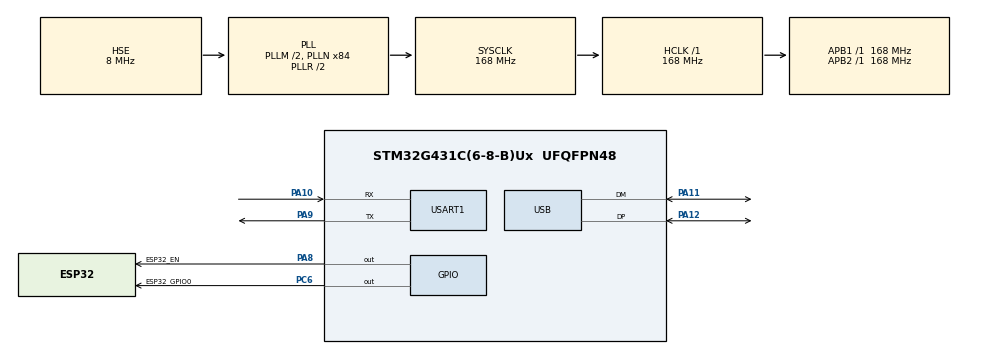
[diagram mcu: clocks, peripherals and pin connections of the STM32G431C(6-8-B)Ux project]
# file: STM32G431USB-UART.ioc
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Dma.Request0=USART1_RX
Dma.Request1=USART1_TX
Dma.USART1_RX.0.Direction=DMA_PERIPH_TO_MEMORY
Dma.USART1_RX.0.EventEnable=DISABLE
Dma.USART1_RX.0.Instance=DMA1_Channel1
Dma.USART1_RX.0.MemDataAlignment=DMA_MDATAALIGN_BYTE
Dma.USART1_RX.0.MemInc=DMA_MINC_ENABLE
Dma.USART1_RX.0.Mode=DMA_CIRCULAR
Dma.USART1_RX.0.PeriphDataAlignment=DMA_PDATAALIGN_BYTE
Dma.USART1_RX.0.PeriphInc=DMA_PINC_DISABLE
Dma.USART1_RX.0.Polarity=HAL_DMAMUX_REQ_GEN_RISING
Dma.USART1_RX.0.Priority=DMA_PRIORITY_LOW
Dma.USART1_RX.0.RequestNumber=1
Dma.USART1_RX.0.SignalID=NONE
Dma.USART1_RX.0.SyncEnable=DISABLE
Dma.USART1_RX.0.SyncPolarity=HAL_DMAMUX_SYNC_NO_EVENT
Dma.USART1_RX.0.SyncRequestNumber=1
Dma.USART1_RX.0.SyncSignalID=NONE
Dma.USART1_TX.1.Direction=DMA_MEMORY_TO_PERIPH
Dma.USART1_TX.1.EventEnable=DISABLE
Dma.USART1_TX.1.Instance=DMA1_Channel2
Dma.USART1_TX.1.MemDataAlignment=DMA_MDATAALIGN_BYTE
Dma.USART1_TX.1.MemInc=DMA_MINC_ENABLE
Dma.USART1_TX.1.Mode=DMA_NORMAL
Dma.USART1_TX.1.PeriphDataAlignment=DMA_PDATAALIGN_BYTE
Dma.USART1_TX.1.PeriphInc=DMA_PINC_DISABLE
Dma.USART1_TX.1.Polarity=HAL_DMAMUX_REQ_GEN_RISING
Dma.USART1_TX.1.Priority=DMA_PRIORITY_LOW
Dma.USART1_TX.1.RequestNumber=1
Dma.USART1_TX.1.SignalID=NONE
Dma.USART1_TX.1.SyncEnable=DISABLE
Dma.USART1_TX.1.SyncPolarity=HAL_DMAMUX_SYNC_NO_EVENT
Dma.USART1_TX.1.SyncRequestNumber=1
Dma.USART1_TX.1.SyncSignalID=NONE
Mcu.Family=STM32G4
Mcu.Name=STM32G431C(6-8-B)Ux
Mcu.Package=UFQFPN48
NVIC.DMA1_Channel1_IRQn=true\:0\:0\:false\:false\:true\:false\:true\:true
NVIC.DMA1_Channel2_IRQn=true\:0\:0\:false\:false\:true\:false\:true\:true
NVIC.PriorityGroup=NVIC_PRIORITYGROUP_4
NVIC.USART1_IRQn=true\:0\:0\:false\:false\:true\:false\:true\:true
NVIC.USB_LP_IRQn=true\:0\:0\:false\:false\:true\:false\:true\:true
PA10.Mode=Asynchronous
PA10.Signal=USART1_RX
PA11.Mode=Device
PA11.Signal=USB_DM
PA12.Mode=Device
PA12.Signal=USB_DP
PA8.GPIO_Label=ESP32_EN
PA8.Signal=GPIO_Output
PA9.Mode=Asynchronous
PA9.Signal=USART1_TX
PC6.GPIO_Label=ESP32_GPIO0
PC6.Signal=GPIO_Output
PF0-OSC_IN.Mode=HSE-External-Oscillator
PF0-OSC_IN.Signal=RCC_OSC_IN
PF1-OSC_OUT.Mode=HSE-External-Oscillator
PF1-OSC_OUT.Signal=RCC_OSC_OUT
ProjectManager.HeapSize=0x200
ProjectManager.StackSize=0x400
ProjectManager.TargetToolchain=CMake
RCC.ADC12Freq_Value=168000000
RCC.AHBFreq_Value=168000000
RCC.APB1Freq_Value=168000000
RCC.APB1TimFreq_Value=168000000
RCC.APB2Freq_Value=168000000
RCC.APB2TimFreq_Value=168000000
RCC.CK48CLockSelection=RCC_USBCLKSOURCE_HSI48
RCC.CortexFreq_Value=168000000
RCC.EXTERNAL_CLOCK_VALUE=12288000
RCC.HCLKFreq_Value=168000000
RCC.HSE_VALUE=8000000
RCC.HSI48_VALUE=48000000
RCC.HSI_VALUE=16000000
RCC.LSE_VALUE=32768
RCC.PLLM=RCC_PLLM_DIV2
RCC.PLLN=84
RCC.PLLSourceVirtual=RCC_PLLSOURCE_HSE
RCC.SYSCLKFreq_VALUE=168000000
RCC.SYSCLKSource=RCC_SYSCLKSOURCE_PLLCLK
RCC.USBFreq_Value=48000000
RCC.VCOOutputFreq_Value=336000000
USART1.AutoBaudRateEnableParam=UART_ADVFEATURE_AUTOBAUDRATE_DISABLE
USART1.DMADisableonRxErrorParam=ADVFEATURE_DMA_DISABLEONRXERROR
USART1.VirtualMode-Asynchronous=VM_ASYNC
USB_DEVICE.CLASS_NAME_FS=CDC
USB_DEVICE.VirtualMode=Cdc
USB_DEVICE.VirtualModeFS=Cdc_FS
VP_RCC_VS_USB.Mode=USB_FS
VP_SYS_VS_DBSignals.Mode=DisableDeadBatterySignals
VP_USB_DEVICE_VS_USB_DEVICE_CDC_FS.Mode=CDC_FS
board=custom

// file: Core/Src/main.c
/* USER CODE BEGIN Header */
/**
  ******************************************************************************
  * @file           : main.c
  * @brief          : Main program body
  ******************************************************************************
  * @attention
  *
  * Copyright (c) 2026 STMicroelectronics.
  * All rights reserved.
  *
  * This software is licensed under terms that can be found in the LICENSE file
  * in the root directory of this software component.
  * If no LICENSE file comes with this software, it is provided AS-IS.
  *
  ******************************************************************************
  */
/* USER CODE END Header */
#include "main.h"
#include "usb_device.h"

/* USER CODE BEGIN Includes */
#include "usbd_cdc_if.h"
#include <string.h>
#include <stdio.h>
/* USER CODE END Includes */

/* USER CODE BEGIN PD */
#define BUFFER_SIZE 1024
#define UART1_TX_BUF_SIZE 512
#define USB_TX_BUF_SIZE   512
/* USER CODE END PD */

UART_HandleTypeDef huart1;
DMA_HandleTypeDef hdma_usart1_rx;
DMA_HandleTypeDef hdma_usart1_tx;

/* USER CODE BEGIN PV */
uint8_t esp_dma_buffer[BUFFER_SIZE];
uint32_t esp_read_ptr = 0;

/* USART1 TX ring buffer (PC -> ESP32), non-blocking DMA */
uint8_t uart1_tx_ring[UART1_TX_BUF_SIZE];
volatile uint16_t uart1_tx_head = 0;
volatile uint16_t uart1_tx_tail = 0;
volatile uint16_t uart1_tx_last_chunk = 0;
volatile uint8_t  uart1_tx_busy = 0;

/* USB TX ping-pong buffers (ESP32 -> PC) */
uint8_t usb_tx_buf[2][USB_TX_BUF_SIZE];
volatile uint8_t  usb_tx_cur = 0;
volatile uint16_t usb_tx_len = 0;
volatile uint8_t  usb_tx_busy = 0;

/* Command line buffer for ESP32 control commands (RST/BOOT/RUN/HELP) */
#define CMD_BUF_SIZE 16
char cmd_line[CMD_BUF_SIZE];
volatile uint16_t cmd_line_len = 0;

/* Command ack buffer - queued in IRQ, flushed in main loop.
 * We must NOT call CDC_Transmit_FS from the USB interrupt context
 * (the USB CDC stack is not re-entrant). */
char cmd_ack_buf[32];
volatile uint16_t cmd_ack_len = 0;

/* Debug counters */
volatile uint32_t rx_byte_count = 0;   /* bytes read from ESP32 RX DMA */
volatile uint32_t usb_tx_byte_count = 0; /* bytes sent to PC over USB */
volatile uint32_t uart1_tx_byte_count = 0; /* bytes sent to ESP32 over UART */

/* Deferred ESP32 reset request (set in USB IRQ, executed in main loop) */
volatile uint8_t esp32_reset_pending = 0;
volatile uint8_t esp32_reset_boot_mode = 0;

/* Non-blocking ESP32 reset state machine */
#define ESP32_RESET_HOLD_MS  100   /* how long EN is held low */
#define ESP32_BOOT0_EXTRA_MS 200   /* GPIO0 held low this much longer than EN */
volatile uint8_t  esp32_reset_active = 0;
volatile uint32_t esp32_reset_start = 0;
volatile uint8_t  esp32_reset_phase = 0; /* 0=idle,1=EN low,2=EN high wait GPIO0 */
/* USER CODE END PV */

void SystemClock_Config(void);
static void MX_GPIO_Init(void);
static void MX_DMA_Init(void);
static void MX_USART1_UART_Init(void);

/* USER CODE BEGIN 0 */

/* ---- ESP32 control commands over USB CDC ----
 * Commands (single line, terminated by \r or \n):
 *   RST  -> reset the ESP32 (normal boot)
 *   BOOT -> reset the ESP32 into Serial Bootloader mode
 *   RUN  -> reset the ESP32 into normal run mode
 *   HELP -> print available commands
 */
/* ---- Non-blocking ESP32 reset state machine ----
 * Called every main-loop iteration. No HAL_Delay anywhere.
 *
 * BOOT mode (bootloader):
 *   phase 1: GPIO0 low, EN low, wait ESP32_RESET_HOLD_MS
 *   phase 2: EN high (release reset) while GPIO0 stays low, wait ESP32_BOOT0_EXTRA_MS
 *   phase 3: GPIO0 high (safe), done
 *
 * Normal mode (RST/RUN):
 *   phase 1: GPIO0 high, EN low, wait ESP32_RESET_HOLD_MS
 *   phase 2: EN high, GPIO0 already high, done
 */
/* Flush all bridge buffers so stale data (e.g. "Hello" from a previous
 * normal boot) is not mixed into the next bootloader response. */
void bridge_flush(void)
{
  // Discard any unread bytes in the RX DMA circular buffer
  esp_read_ptr = (BUFFER_SIZE - __HAL_DMA_GET_COUNTER(huart1.hdmarx)) % BUFFER_SIZE;
  // Drop any pending USB TX data
  usb_tx_len = 0;
  usb_tx_cur = 0;
  usb_tx_busy = 0;
  // Drop any pending command ack
  cmd_ack_len = 0;
}

void esp32_reset_poll(void)
{
  if (esp32_reset_pending && !esp32_reset_active)
  {
    esp32_reset_pending = 0;
    esp32_reset_active = 1;
    esp32_reset_phase = 1;
    // Flush stale bridge data before resetting the ESP32
    bridge_flush();
    // Set GPIO0: low = bootloader, high = normal
    HAL_GPIO_WritePin(ESP32_GPIO0_GPIO_Port, ESP32_GPIO0_Pin,
                      esp32_reset_boot_mode ? GPIO_PIN_RESET : GPIO_PIN_SET);
    // Assert reset (EN low)
    HAL_GPIO_WritePin(ESP32_EN_GPIO_Port, ESP32_EN_Pin, GPIO_PIN_RESET);
    esp32_reset_start = HAL_GetTick();
  }
  else if (esp32_reset_active)
  {
    if (esp32_reset_phase == 1)
    {
      // Hold EN low for ESP32_RESET_HOLD_MS, then release EN
      if ((HAL_GetTick() - esp32_reset_start) >= ESP32_RESET_HOLD_MS)
      {
        HAL_GPIO_WritePin(ESP32_EN_GPIO_Port, ESP32_EN_Pin, GPIO_PIN_SET); // EN high
        if (esp32_reset_boot_mode)
        {
          // Bootloader: keep GPIO0 low longer, then release
          esp32_reset_phase = 2;
          esp32_reset_start = HAL_GetTick();
        }
        else
        {
          // Normal boot: GPIO0 already high, done
          esp32_reset_active = 0;
          bridge_flush(); // discard glitch garbage from EN toggle
        }
      }
    }
    else if (esp32_reset_phase == 2)
    {
      // Hold GPIO0 low for ESP32_BOOT0_EXTRA_MS after EN released, then release
      if ((HAL_GetTick() - esp32_reset_start) >= ESP32_BOOT0_EXTRA_MS)
      {
        HAL_GPIO_WritePin(ESP32_GPIO0_GPIO_Port, ESP32_GPIO0_Pin, GPIO_PIN_SET); // GPIO0 safe
        esp32_reset_active = 0;
        bridge_flush(); // discard glitch garbage from EN/GPIO0 toggle
      }
    }
  }
}

void esp32_handle_command(const char *cmd, uint16_t len)
{
  if (len >= 3)
  {
    if (cmd[0]=='R' && cmd[1]=='S' && cmd[2]=='T')
    {
      esp32_reset_boot_mode = 0; // normal boot
      esp32_reset_pending = 1;   // defer to main loop (no HAL_Delay in IRQ)
      memcpy(cmd_ack_buf, "OK RST\r\n", 8);
      cmd_ack_len = 8;
    }
    else if (len >= 4 && cmd[0]=='B' && cmd[1]=='O' && cmd[2]=='O' && cmd[3]=='T')
    {
      esp32_reset_boot_mode = 1; // bootloader mode
      esp32_reset_pending = 1;   // defer to main loop
      memcpy(cmd_ack_buf, "OK BOOT\r\n", 9);
      cmd_ack_len = 9;
    }
    else if (cmd[0]=='R' && cmd[1]=='U' && cmd[2]=='N')
    {
      esp32_reset_boot_mode = 0; // normal run
      esp32_reset_pending = 1;   // defer to main loop
      memcpy(cmd_ack_buf, "OK RUN\r\n", 8);
      cmd_ack_len = 8;
    }
    else if (len >= 4 && cmd[0]=='H' && cmd[1]=='E' && cmd[2]=='L' && cmd[3]=='P')
    {
      memcpy(cmd_ack_buf, "RST|BOOT|RUN|HELP\r\n", 19);
      cmd_ack_len = 19;
    }
    else if (len >= 4 && cmd[0]=='S' && cmd[1]=='T' && cmd[2]=='A' && cmd[3]=='T')
    {
      // Report debug counters
      int n = snprintf(cmd_ack_buf, sizeof(cmd_ack_buf),
                       "RX=%lu USB=%lu UART=%lu\r\n",
                       (unsigned long)rx_byte_count,
                       (unsigned long)usb_tx_byte_count,
                       (unsigned long)uart1_tx_byte_count);
      cmd_ack_len = (uint16_t)n;
    }
    else if (len >= 5 && cmd[0]=='F' && cmd[1]=='L' && cmd[2]=='U' && cmd[3]=='S' && cmd[4]=='H')
    {
      // Flush the RX DMA buffer (discard stale banner data) so the next
      // bootloader response is not corrupted. Called by the flash script
      // after the bootloader banner is drained, right before esptool runs.
      bridge_flush();
      memcpy(cmd_ack_buf, "OK FLUSH\r\n", 10);
      cmd_ack_len = 10;
    }
  }
}

/* ---- Non-blocking USART1 TX (PC -> ESP32) via DMA ---- */
void uart1_tx_pump(void);

/* Bulk-send a whole buffer to the ESP32 in one DMA transfer. This preserves
 * the integrity of esptool's SLIP-framed packets (per-byte forwarding can
 * fragment them and corrupt the bootloader's parsing). */
void uart1_send_bulk(const uint8_t *data, uint16_t len)
{
  for (uint16_t i = 0; i < len; i++)
  {
    uint16_t next = (uint16_t)((uart1_tx_head + 1) % UART1_TX_BUF_SIZE);
    if (next == uart1_tx_tail)
    {
      break; // ring full, drop
    }
    uart1_tx_ring[uart1_tx_head] = data[i];
    uart1_tx_head = next;
    uart1_tx_byte_count++;
  }
  uart1_tx_pump();

  // Detect human-readable command lines (RST/BOOT/RUN/HELP/STAT)
  for (uint16_t i = 0; i < len; i++)
  {
    uint8_t b = data[i];
    if (b == '\r' || b == '\n')
    {
      if (cmd_line_len > 0)
      {
        cmd_line[cmd_line_len] = 0;
        esp32_handle_command(cmd_line, cmd_line_len);
        cmd_line_len = 0;
      }
    }
    else if (cmd_line_len < CMD_BUF_SIZE - 1)
    {
      cmd_line[cmd_line_len++] = (char)b;
    }
    else
    {
      cmd_line_len = 0; // overflow, reset
    }
  }
}

void uart1_send_byte(uint8_t b)
{
  // Forward the byte to the ESP32 immediately (transparent bridge).
  // This is critical for esptool, which sends binary data without newlines.
  uint16_t next = (uint16_t)((uart1_tx_head + 1) % UART1_TX_BUF_SIZE);
  if (next != uart1_tx_tail)
  {
    uart1_tx_ring[uart1_tx_head] = b;
    uart1_tx_head = next;
    uart1_tx_byte_count++;
    uart1_tx_pump();
  }

  // Separately detect human-readable command lines (RST/BOOT/RUN/HELP).
  // Only intercept if the whole line matches a known command.
  if (b == '\r' || b == '\n')
  {
    if (cmd_line_len > 0)
    {
      cmd_line[cmd_line_len] = 0;
      esp32_handle_command(cmd_line, cmd_line_len);
      cmd_line_len = 0;
    }
  }
  else if (cmd_line_len < CMD_BUF_SIZE - 1)
  {
    cmd_line[cmd_line_len++] = (char)b;
  }
  else
  {
    cmd_line_len = 0; // overflow, reset
  }
}

void uart1_tx_pump(void)
{
  if (uart1_tx_busy) return;
  if (uart1_tx_head == uart1_tx_tail) return;

  uint16_t avail;
  if (uart1_tx_head > uart1_tx_tail)
  {
    avail = (uint16_t)(uart1_tx_head - uart1_tx_tail);
  }
  else
  {
    avail = (uint16_t)(UART1_TX_BUF_SIZE - uart1_tx_tail);
  }

  uart1_tx_last_chunk = avail;
  uart1_tx_busy = 1;
  HAL_UART_Transmit_DMA(&huart1, &uart1_tx_ring[uart1_tx_tail], avail);
}

void HAL_UART_TxCpltCallback(UART_HandleTypeDef *huart)
{
  if (huart->Instance == USART1)
  {
    uart1_tx_tail = (uint16_t)((uart1_tx_tail + uart1_tx_last_chunk) % UART1_TX_BUF_SIZE);
    uart1_tx_busy = 0;
    uart1_tx_pump();
  }
}

/* USER CODE END 0 */

int main(void)
{

  /* MCU Configuration--------------------------------------------------------*/

  /* Reset of all peripherals, Initializes the Flash interface and the Systick. */
  HAL_Init();

  /* Configure the system clock */
  SystemClock_Config();

  /* Initialize all configured peripherals */
  MX_GPIO_Init();
  MX_DMA_Init();
  MX_USART1_UART_Init();
  MX_USB_Device_Init();
  /* USER CODE BEGIN 2 */

  // 1. Boot the ESP32 normally (GPIO0 high = normal boot, EN released)
  HAL_GPIO_WritePin(ESP32_GPIO0_GPIO_Port, ESP32_GPIO0_Pin, GPIO_PIN_SET);   // GPIO0 High (Normal Boot)
  HAL_GPIO_WritePin(ESP32_EN_GPIO_Port, ESP32_EN_Pin, GPIO_PIN_RESET);       // EN Low (Reset active)
  HAL_Delay(200);                                                            // Wait for discharge

  HAL_GPIO_WritePin(ESP32_EN_GPIO_Port, ESP32_EN_Pin, GPIO_PIN_SET);         // EN High (Release Reset)
  HAL_Delay(50);                                                             // Wait for boot to start

// 2. Start the non-blocking Circular DMA receiver to listen for the ESP32
  HAL_UART_Receive_DMA(&huart1, esp_dma_buffer, BUFFER_SIZE);

  /* USER CODE END 2 */

  /* Infinite loop */
  /* USER CODE BEGIN WHILE */
  while (1)
  {
    /* USER CODE BEGIN WHILE */

// Calculate where the DMA hardware is currently writing inside our buffer.
    // The counter counts down from BUFFER_SIZE to 0 then reloads; when it is 0
    // the write pointer wraps to 0, so take modulo to stay in [0, BUFFER_SIZE).
    uint32_t esp_write_ptr = (BUFFER_SIZE - __HAL_DMA_GET_COUNTER(huart1.hdmarx)) % BUFFER_SIZE;

    // If the read pointer lags behind the write pointer, we have new data
    while (esp_read_ptr != esp_write_ptr)
    {
      uint8_t b = esp_dma_buffer[esp_read_ptr];
      esp_read_ptr = (esp_read_ptr + 1) % BUFFER_SIZE;
      rx_byte_count++;

      // Accumulate into the current USB TX buffer
      if (usb_tx_len < USB_TX_BUF_SIZE)
      {
        usb_tx_buf[usb_tx_cur][usb_tx_len++] = b;
      }

      // If USB is free, flush the accumulated bytes to the PC
      if (!usb_tx_busy && usb_tx_len > 0)
      {
        if (CDC_Transmit_FS(usb_tx_buf[usb_tx_cur], usb_tx_len) == USBD_OK)
        {
          usb_tx_busy = 1;
          usb_tx_byte_count += usb_tx_len;
          usb_tx_cur ^= 1;   /* switch to the other buffer */
          usb_tx_len = 0;
        }
        else
        {
          // USB busy: keep the data in the current buffer and retry next
          // iteration. Do NOT switch buffers or reset usb_tx_len.
        }
      }
    }

    /* USER CODE END WHILE */

    /* USER CODE BEGIN 3 */
    // Flush any pending command ack to the PC (deferred from IRQ context)
    if (cmd_ack_len > 0 && !usb_tx_busy)
    {
      if (CDC_Transmit_FS((uint8_t*)cmd_ack_buf, cmd_ack_len) == USBD_OK)
      {
        usb_tx_busy = 1;
        cmd_ack_len = 0;
      }
    }
    // Drive the non-blocking ESP32 reset state machine (no HAL_Delay)
    esp32_reset_poll();
  }
  /* USER CODE END 3 */
}

void SystemClock_Config(void)
{
  RCC_OscInitTypeDef RCC_OscInitStruct = {0};
  RCC_ClkInitTypeDef RCC_ClkInitStruct = {0};
  RCC_CRSInitTypeDef pInit = {0};

  /** Configure the main internal regulator output voltage
  */
  HAL_PWREx_ControlVoltageScaling(PWR_REGULATOR_VOLTAGE_SCALE1_BOOST);

  /** Initializes the RCC Oscillators according to the specified parameters
  * in the RCC_OscInitTypeDef structure.
  */
  RCC_OscInitStruct.OscillatorType = RCC_OSCILLATORTYPE_HSI48|RCC_OSCILLATORTYPE_HSE;
  RCC_OscInitStruct.HSEState = RCC_HSE_ON;
  RCC_OscInitStruct.HSI48State = RCC_HSI48_ON;
  RCC_OscInitStruct.PLL.PLLState = RCC_PLL_ON;
  RCC_OscInitStruct.PLL.PLLSource = RCC_PLLSOURCE_HSE;
  RCC_OscInitStruct.PLL.PLLM = RCC_PLLM_DIV2;
  RCC_OscInitStruct.PLL.PLLN = 84;
  RCC_OscInitStruct.PLL.PLLP = RCC_PLLP_DIV2;
  RCC_OscInitStruct.PLL.PLLQ = RCC_PLLQ_DIV2;
  RCC_OscInitStruct.PLL.PLLR = RCC_PLLR_DIV2;
  if (HAL_RCC_OscConfig(&RCC_OscInitStruct) != HAL_OK)
  {
    Error_Handler();
  }

  /** Initializes the CPU, AHB and APB buses clocks
  */
  RCC_ClkInitStruct.ClockType = RCC_CLOCKTYPE_HCLK|RCC_CLOCKTYPE_SYSCLK
                              |RCC_CLOCKTYPE_PCLK1|RCC_CLOCKTYPE_PCLK2;
  RCC_ClkInitStruct.SYSCLKSource = RCC_SYSCLKSOURCE_PLLCLK;
  RCC_ClkInitStruct.AHBCLKDivider = RCC_SYSCLK_DIV1;
  RCC_ClkInitStruct.APB1CLKDivider = RCC_HCLK_DIV1;
  RCC_ClkInitStruct.APB2CLKDivider = RCC_HCLK_DIV1;

  if (HAL_RCC_ClockConfig(&RCC_ClkInitStruct, FLASH_LATENCY_4) != HAL_OK)
  {
    Error_Handler();
  }

  /** Enable the SYSCFG APB clock
  */
  __HAL_RCC_CRS_CLK_ENABLE();

  /** Configures CRS
  */
  pInit.Prescaler = RCC_CRS_SYNC_DIV1;
  pInit.Source = RCC_CRS_SYNC_SOURCE_USB;
  pInit.Polarity = RCC_CRS_SYNC_POLARITY_RISING;
  pInit.ReloadValue = __HAL_RCC_CRS_RELOADVALUE_CALCULATE(48000000,1000);
  pInit.ErrorLimitValue = 34;
  pInit.HSI48CalibrationValue = 32;

  HAL_RCCEx_CRSConfig(&pInit);
}

static void MX_USART1_UART_Init(void)
{

  huart1.Instance = USART1;
  huart1.Init.BaudRate = 115200;
  huart1.Init.WordLength = UART_WORDLENGTH_8B;
  huart1.Init.StopBits = UART_STOPBITS_1;
  huart1.Init.Parity = UART_PARITY_NONE;
  huart1.Init.Mode = UART_MODE_TX_RX;
  huart1.Init.HwFlowCtl = UART_HWCONTROL_NONE;
  huart1.Init.OverSampling = UART_OVERSAMPLING_16;
  huart1.Init.OneBitSampling = UART_ONE_BIT_SAMPLE_DISABLE;
  huart1.Init.ClockPrescaler = UART_PRESCALER_DIV1;
  huart1.AdvancedInit.AdvFeatureInit = UART_ADVFEATURE_DMADISABLEONERROR_INIT;
  huart1.AdvancedInit.DMADisableonRxError = UART_ADVFEATURE_DMA_ENABLEONRXERROR;
  if (HAL_UART_Init(&huart1) != HAL_OK)
  {
    Error_Handler();
  }
  if (HAL_UARTEx_SetTxFifoThreshold(&huart1, UART_TXFIFO_THRESHOLD_1_8) != HAL_OK)
  {
    Error_Handler();
  }
  if (HAL_UARTEx_SetRxFifoThreshold(&huart1, UART_RXFIFO_THRESHOLD_1_8) != HAL_OK)
  {
    Error_Handler();
  }
  if (HAL_UARTEx_DisableFifoMode(&huart1) != HAL_OK)
  {
    Error_Handler();
  }

}

static void MX_DMA_Init(void)
{

  /* DMA controller clock enable */
  __HAL_RCC_DMAMUX1_CLK_ENABLE();
  __HAL_RCC_DMA1_CLK_ENABLE();

  /* DMA interrupt init */
  /* DMA1_Channel1_IRQn interrupt configuration */
  HAL_NVIC_SetPriority(DMA1_Channel1_IRQn, 0, 0);
  HAL_NVIC_EnableIRQ(DMA1_Channel1_IRQn);
  /* DMA1_Channel2_IRQn interrupt configuration */
  HAL_NVIC_SetPriority(DMA1_Channel2_IRQn, 0, 0);
  HAL_NVIC_EnableIRQ(DMA1_Channel2_IRQn);

}

static void MX_GPIO_Init(void)
{
  GPIO_InitTypeDef GPIO_InitStruct = {0};

  /* GPIO Ports Clock Enable */
  __HAL_RCC_GPIOF_CLK_ENABLE();
  __HAL_RCC_GPIOC_CLK_ENABLE();
  __HAL_RCC_GPIOA_CLK_ENABLE();

  /*Configure GPIO pin Output Level */
  HAL_GPIO_WritePin(ESP32_GPIO0_GPIO_Port, ESP32_GPIO0_Pin, GPIO_PIN_RESET);

  /*Configure GPIO pin Output Level */
  HAL_GPIO_WritePin(ESP32_EN_GPIO_Port, ESP32_EN_Pin, GPIO_PIN_RESET);

  /*Configure GPIO pin : ESP32_GPIO0_Pin */
  GPIO_InitStruct.Pin = ESP32_GPIO0_Pin;
  GPIO_InitStruct.Mode = GPIO_MODE_OUTPUT_PP;
  GPIO_InitStruct.Pull = GPIO_NOPULL;
  GPIO_InitStruct.Speed = GPIO_SPEED_FREQ_LOW;
  HAL_GPIO_Init(ESP32_GPIO0_GPIO_Port, &GPIO_InitStruct);

  /*Configure GPIO pin : ESP32_EN_Pin */
  GPIO_InitStruct.Pin = ESP32_EN_Pin;
  GPIO_InitStruct.Mode = GPIO_MODE_OUTPUT_PP;
  GPIO_InitStruct.Pull = GPIO_NOPULL;
  GPIO_InitStruct.Speed = GPIO_SPEED_FREQ_LOW;
  HAL_GPIO_Init(ESP32_EN_GPIO_Port, &GPIO_InitStruct);

}

void Error_Handler(void)
{
  __disable_irq();
  while (1)
  {
  }
}
